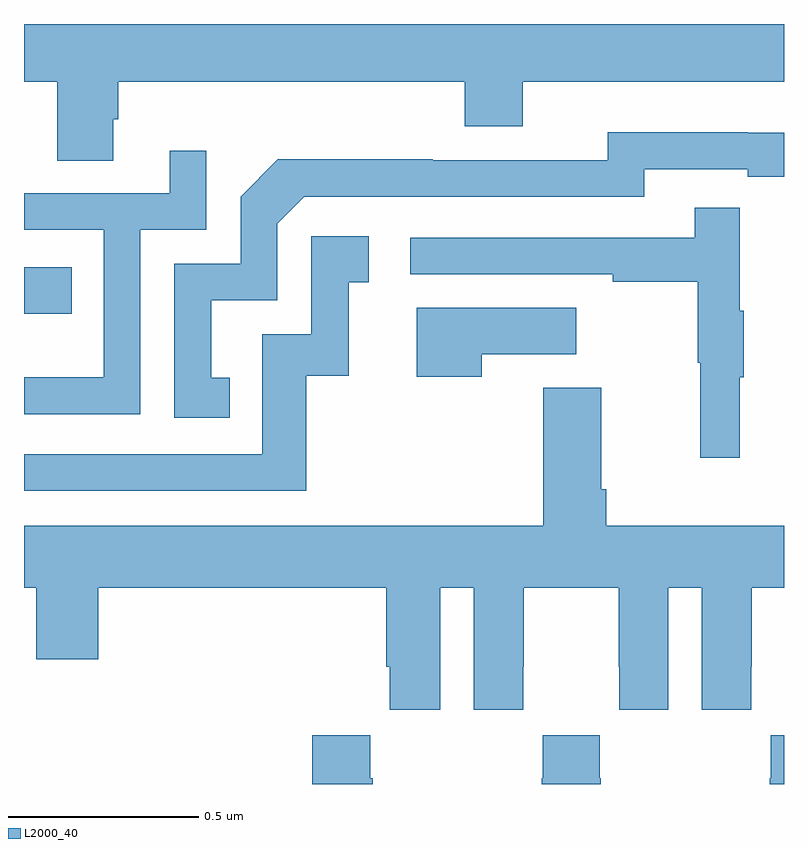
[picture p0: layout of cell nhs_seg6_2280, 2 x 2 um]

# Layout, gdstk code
import gdstk
lib = gdstk.Library(unit=1e-6, precision=1e-09)
def R(c, l, rs):  # rectangles x0, y0, x1, y1
    for r in rs: c.add(gdstk.rectangle(r[:2], r[2:], *l))
def P(c, l, *ps):  # polygons
    for p in ps: c.add(gdstk.Polygon(p, *l))
L2000_40 = (2000, 40)

nhs_seg6_2280 = lib.new_cell('nhs_seg6_2280')
R(nhs_seg6_2280, L2000_40, [(141,934.737,141.125,934.86)])
P(nhs_seg6_2280, L2000_40, [(142.16,935.231),(142.312,935.231),(142.312,935.348),(143,935.348),(143,935.5),(141,935.5),(141,935.348),(141.088,935.348),(141.088,935.14),(141.235,935.14),(141.235,935.25),(141.248,935.25),(141.248,935.348),(142.16,935.348)],
  [(141.542,934.569),(141.493,934.569),(141.493,934.773),(141.666,934.773),(141.666,934.974),(141.738,935.046),(142.632,935.046),(142.632,935.118),(142.904,935.118),(142.904,935.098),(143,935.098),(143,935.214),(142.904,935.214),(142.904,935.215),(142.536,935.215),(142.536,935.142),(142.076,935.142),(142.076,935.144),(141.668,935.144),(141.57,935.046),(141.57,934.869),(141.396,934.869),(141.396,934.464),(141.542,934.464)],
  [(141.306,934.959),(141.48,934.959),(141.48,935.167),(141.383,935.167),(141.383,935.055),(141,935.055),(141,934.959),(141.21,934.959),(141.21,934.57),(141,934.57),(141,934.473),(141.306,934.473)],
  [(142.883,934.571),(142.894,934.571),(142.894,934.745),(142.883,934.745),(142.883,935.017),(142.765,935.017),(142.765,934.938),(142.017,934.938),(142.017,934.842),(142.549,934.842),(142.549,934.822),(142.773,934.822),(142.773,934.608),(142.78,934.608),(142.78,934.359),(142.883,934.359)],
  [(141.743,934.575),(141.854,934.575),(141.854,934.821),(141.907,934.821),(141.907,934.942),(141.756,934.942),(141.756,934.683),(141.627,934.683),(141.627,934.368),(141,934.368),(141,934.272),(141.743,934.272)],
  [(142.205,934.631),(142.453,934.631),(142.453,934.753),(142.034,934.753),(142.034,934.572),(142.205,934.572)],
  [(141,934.016),(141.032,934.016),(141.032,933.828),(141.196,933.828),(141.196,934.016),(141.953,934.016),(141.953,933.808),(141.962,933.808),(141.962,933.696),(142.096,933.696),(142.096,934.016),(142.184,934.016),(142.184,933.696),(142.314,933.696),(142.314,933.808),(142.315,933.808),(142.315,934.016),(142.565,934.016),(142.565,933.808),(142.566,933.808),(142.566,933.696),(142.696,933.696),(142.696,934.016),(142.784,934.016),(142.784,933.696),(142.914,933.696),(142.914,933.808),(142.915,933.808),(142.915,934.016),(143,934.016),(143,934.18),(142.532,934.18),(142.532,934.276),(142.519,934.276),(142.519,934.543),(142.367,934.543),(142.367,934.18),(141,934.18)],
  [(141.918,933.515),(141.911,933.515),(141.911,933.628),(141.758,933.628),(141.758,933.5),(141.918,933.5)],
  [(142.518,933.515),(142.515,933.515),(142.515,933.628),(142.365,933.628),(142.365,933.515),(142.363,933.515),(142.363,933.5),(142.518,933.5)],
  [(143,933.628),(142.965,933.628),(142.965,933.515),(142.963,933.515),(142.963,933.5),(143,933.5)])

lib.write_gds('nhs_seg6_2280.gds')
